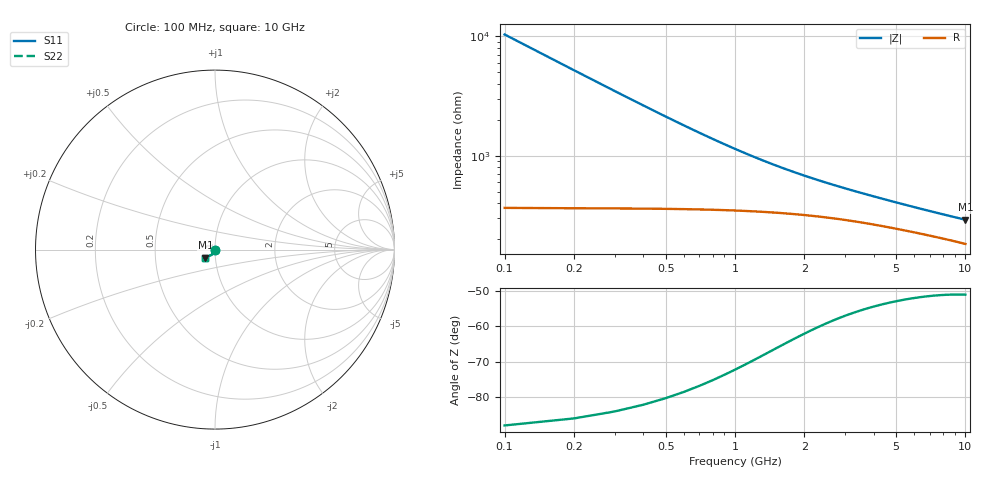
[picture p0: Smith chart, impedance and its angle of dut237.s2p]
! Touchstone file exported from HFSS 2024.1.0
!  File:  C:/UserFiles/LocalFiles/RDL_TSV_Batchsim/temp_TSV1_237_1778767889.aedt
!  Generated:  10:15:36 PM May 14, 2026
!  Design:  TSV1
!  Project:  temp_TSV1_237_1778767889
!  Setup:  Setup1
!  Solution:  Sweep
! Variables:
!  dtsv = 24.84um
!  hbump = 3um
!  htsv = 50.5um
!  lrdl = 252.1521522um
!  p = 40
!  p1 = 58.37um
!  t = 500um
!  trdl = 3um
!  wrdl = 24.89489489um
# GHz S MA R 50.000000
! Terminal data exported
! Port[1] = TSV22_T1
! Port[2] = TSV22_T2
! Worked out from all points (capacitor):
!   100 points, 100 MHz to 10 GHz, reference 50 ohm
!   read as one part in shunt: C = 153 fF near 100 MHz
!   lowest |Z| = 291 ohm at 10 GHz (marker M1)
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0.1  0.00219 -90.6  0.9998 -0.2  0.9998 -0.2  0.00219 -90.6
! Gamma 0 0 0 0
! Port Impedance 50 0 50 0
0.2  0.004365 -93.6  0.9996 -0.3  0.9996 -0.3  0.004365 -93.6
0.3  0.006513 -96.0  0.9991 -0.4  0.9991 -0.4  0.006513 -96.0
0.4  0.008619 -98.2  0.9985 -0.6  0.9985 -0.6  0.008619 -98.2
0.5  0.01067 -100.4  0.9978 -0.7  0.9978 -0.7  0.01067 -100.4
0.6  0.01267 -102.4  0.9969 -0.8  0.9969 -0.8  0.01267 -102.4
0.7  0.01459 -104.4  0.996 -1.0  0.996 -1.0  0.01459 -104.4
0.8  0.01644 -106.2  0.995 -1.1  0.995 -1.1  0.01644 -106.2
0.9  0.01822 -108.0  0.9939 -1.2  0.9939 -1.2  0.01822 -108.0
1.1  0.02153 -111.3  0.9918 -1.4  0.9918 -1.4  0.02153 -111.3
1.4  0.02592 -115.5  0.9885 -1.6  0.9885 -1.6  0.02592 -115.5
1.6  0.0285 -118.0  0.9863 -1.8  0.9863 -1.8  0.0285 -118.0
1.8  0.03084 -120.1  0.9843 -1.9  0.9843 -1.9  0.03084 -120.1
2.1  0.03396 -122.8  0.9814 -2.1  0.9814 -2.1  0.03396 -122.8
2.5  0.03755 -125.7  0.978 -2.3  0.978 -2.3  0.03755 -125.7
2.9  0.04066 -128.0  0.9749 -2.4  0.9749 -2.4  0.04066 -128.0
3.4  0.04407 -130.2  0.9715 -2.6  0.9715 -2.6  0.04407 -130.2
4.2  0.04877 -132.8  0.9669 -2.9  0.9669 -2.9  0.04877 -132.8
5.1  0.05326 -135.0  0.9625 -3.2  0.9625 -3.2  0.05326 -135.0
6.7  0.05983 -137.6  0.9562 -3.7  0.9562 -3.7  0.05983 -137.6
8.4  0.06541 -139.5  0.9509 -4.2  0.9509 -4.2  0.06541 -139.5
10  0.06978 -140.6  0.9469 -4.6  0.9469 -4.6  0.06978 -140.6
